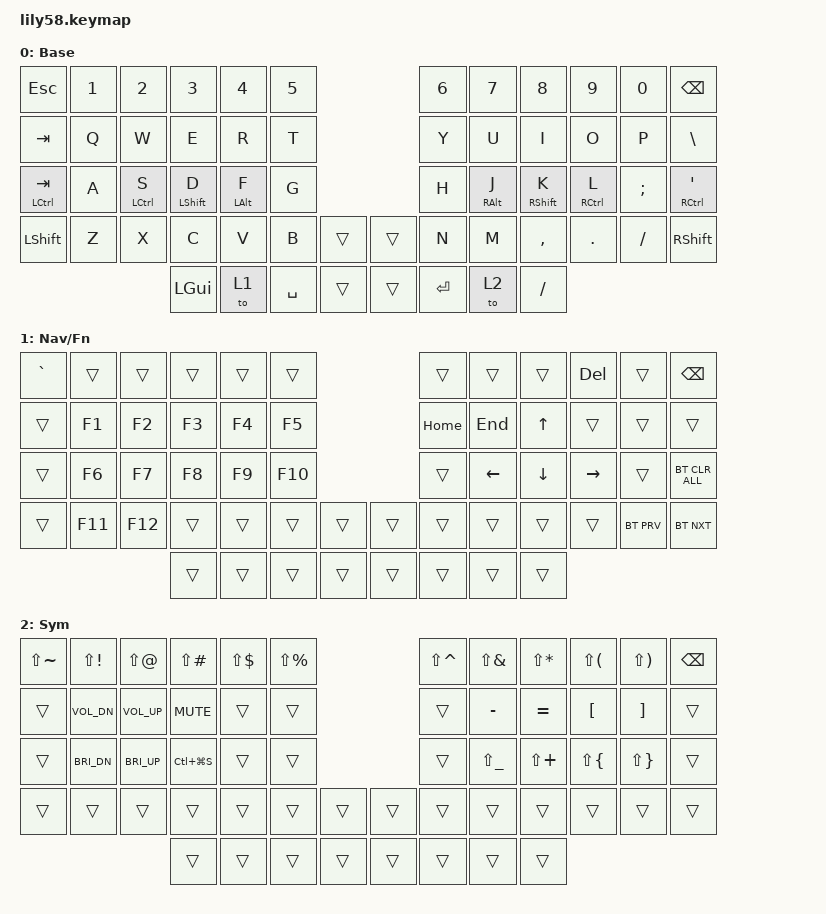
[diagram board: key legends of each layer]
#include <behaviors/mouse_keys.dtsi>
#include <behaviors.dtsi>
#include <dt-bindings/zmk/bt.h>
#include <dt-bindings/zmk/keys.h>

/ {
    combos {
        compatible = "zmk,combos";

        alt_left {
            bindings = <&kp LEFT_ALT>;
            key-positions = <27 28>;
        };

        alt_right {
            bindings = <&kp LEFT_ALT>;
            key-positions = <32 31>;
        };

        control_left {
            bindings = <&kp LEFT_CONTROL>;
            key-positions = <26 28 27>;
        };

        control_right {
            bindings = <&kp LEFT_CONTROL>;
            key-positions = <32 33 31>;
        };

        shift_left {
            bindings = <&kp LEFT_SHIFT>;
            key-positions = <27 26>;
        };

        shift_right {
            bindings = <&kp LEFT_SHIFT>;
            key-positions = <32 33>;
        };

        gui_left {
            bindings = <&kp LEFT_GUI>;
            key-positions = <26 28>;
        };

        gui_right {
            bindings = <&kp LEFT_GUI>;
            key-positions = <31 33>;
        };
    };

    behaviors {
        home_row: home_row {
            compatible = "zmk,behavior-hold-tap";
            label = "HOME_ROW";
            bindings = <&kp>, <&kp>;

            #binding-cells = <2>;
            tapping-term-ms = <200>;
            flavor = "tap-preferred";
        };
    };

    keymap {
        compatible = "zmk,keymap";

        base {
            display-name = "Base";
            bindings = <
&kp ESCAPE            &kp N1  &kp N2                    &kp N3                  &kp N4                &kp N5                       &kp N6     &kp N7                 &kp N8                   &kp N9                     &kp N0         &kp BACKSPACE
&kp TAB               &kp Q   &kp W                     &kp E                   &kp R                 &kp T                        &kp Y      &kp U                  &kp I                    &kp O                      &kp P          &kp BACKSLASH
&mt LEFT_CONTROL TAB  &kp A   &home_row LEFT_CONTROL S  &home_row LEFT_SHIFT D  &home_row LEFT_ALT F  &kp G                        &kp H      &home_row RIGHT_ALT J  &home_row RIGHT_SHIFT K  &home_row RIGHT_CONTROL L  &kp SEMICOLON  &mt RIGHT_CONTROL APOSTROPHE
&kp LEFT_SHIFT        &kp Z   &kp X                     &kp C                   &kp V                 &kp B      &trans    &trans  &kp N      &kp M                  &kp COMMA                &kp DOT                    &kp FSLH       &kp RSHFT
                                                        &kp LEFT_GUI            &to 1                 &kp SPACE  &trans    &trans  &kp ENTER  &to 2                  &kp FSLH
            >;
        };

        nav_fn {
            display-name = "Nav/Fn";
            bindings = <
&kp GRAVE  &trans   &trans   &trans  &trans  &trans                     &trans    &trans    &trans    &kp DEL    &trans      &kp BSPC
&trans     &kp F1   &kp F2   &kp F3  &kp F4  &kp F5                     &kp HOME  &kp END   &kp UP    &trans     &trans      &trans
&trans     &kp F6   &kp F7   &kp F8  &kp F9  &kp F10                    &trans    &kp LEFT  &kp DOWN  &kp RIGHT  &trans      &bt BT_CLR_ALL
&trans     &kp F11  &kp F12  &trans  &trans  &trans   &trans    &trans  &trans    &trans    &trans    &trans     &bt BT_PRV  &bt BT_NXT
                             &trans  &trans  &trans   &trans    &trans  &trans    &trans    &trans
            >;
        };

        sym {
            display-name = "Sym";
            bindings = <
&kp LS(TILDE)  &kp LS(EXCL)  &kp LS(AT)    &kp LS(POUND)  &kp LS(DLLR)  &kp LS(PRCNT)                    &kp LS(CARET)  &kp LS(AMPS)   &kp LS(STAR)  &kp LS(LPAR)  &kp LS(RPAR)  &kp BSPC
&trans         &kp C_VOL_DN  &kp C_VOL_UP  &kp C_MUTE     &trans        &trans                           &trans         &kp MINUS      &kp EQUAL     &kp LBKT      &kp RBKT      &trans
&trans         &kp C_BRI_DN  &kp C_BRI_UP  &kp LC(LG(S))  &trans        &trans                           &trans         &kp LS(UNDER)  &kp LS(PLUS)  &kp LS(LBRC)  &kp LS(RBRC)  &trans
&trans         &trans        &trans        &trans         &trans        &trans         &trans    &trans  &trans         &trans         &trans        &trans        &trans        &trans
                                           &trans         &trans        &trans         &trans    &trans  &trans         &trans         &trans
            >;
        };
    };
};
